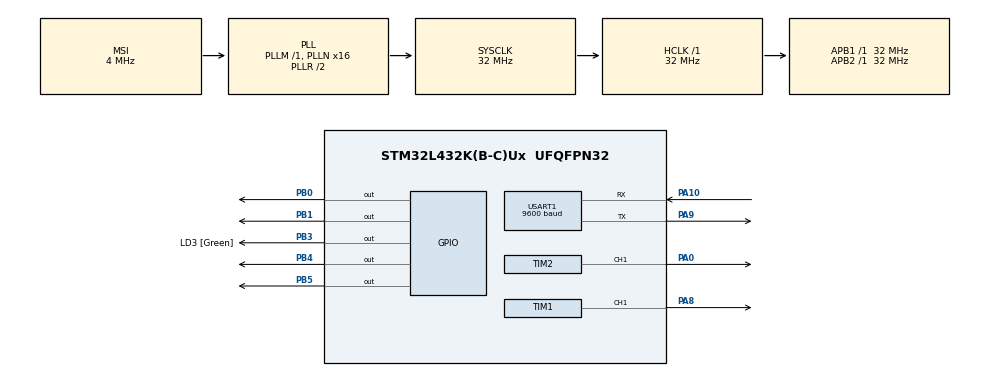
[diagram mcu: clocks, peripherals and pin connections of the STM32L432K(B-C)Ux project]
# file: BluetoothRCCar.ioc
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Mcu.Family=STM32L4
Mcu.Name=STM32L432K(B-C)Ux
Mcu.Package=UFQFPN32
NVIC.PriorityGroup=NVIC_PRIORITYGROUP_4
PA0.Signal=S_TIM2_CH1
PA10.Mode=Asynchronous
PA10.Signal=USART1_RX
PA13\ (JTMS-SWDIO).GPIO_Label=SWDIO
PA13\ (JTMS-SWDIO).Mode=Serial_Wire
PA13\ (JTMS-SWDIO).Signal=SYS_JTMS-SWDIO
PA14\ (JTCK-SWCLK).GPIO_Label=SWCLK
PA14\ (JTCK-SWCLK).Mode=Serial_Wire
PA14\ (JTCK-SWCLK).Signal=SYS_JTCK-SWCLK
PA8.Signal=S_TIM1_CH1
PA9.Mode=Asynchronous
PA9.Signal=USART1_TX
PB0.Signal=GPIO_Output
PB1.Signal=GPIO_Output
PB3\ (JTDO-TRACESWO).GPIO_Label=LD3 [Green]
PB3\ (JTDO-TRACESWO).Signal=GPIO_Output
PB4\ (NJTRST).Signal=GPIO_Output
PB5.Signal=GPIO_Output
PC14-OSC32_IN\ (PC14).Mode=LSE-External-Oscillator
PC14-OSC32_IN\ (PC14).Signal=RCC_OSC32_IN
PC15-OSC32_OUT\ (PC15).Mode=LSE-External-Oscillator
PC15-OSC32_OUT\ (PC15).Signal=RCC_OSC32_OUT
ProjectManager.HeapSize=0x200
ProjectManager.StackSize=0x400
ProjectManager.TargetToolchain=STM32CubeIDE
RCC.AHBFreq_Value=32000000
RCC.APB1Freq_Value=32000000
RCC.APB1TimFreq_Value=32000000
RCC.APB2Freq_Value=32000000
RCC.APB2TimFreq_Value=32000000
RCC.CortexFreq_Value=32000000
RCC.HCLKFreq_Value=32000000
RCC.HSE_VALUE=8000000
RCC.HSI16_VALUE=16000000
RCC.HSI48_VALUE=48000000
RCC.HSI_VALUE=16000000
RCC.MSI_VALUE=4000000
RCC.PLLMUL=RCC_PLLMUL_4
RCC.PLLN=16
RCC.SYSCLKFreq_VALUE=32000000
RCC.SYSCLKSource=RCC_SYSCLKSOURCE_PLLCLK
RCC.VCOOutputFreq_Value=64000000
SH.S_TIM1_CH1.0=TIM1_CH1,PWM Generation1 CH1
SH.S_TIM2_CH1.0=TIM2_CH1,PWM Generation1 CH1
TIM1.AutoReloadPreload=TIM_AUTORELOAD_PRELOAD_ENABLE
TIM1.Channel-PWM\ Generation1\ CH1=TIM_CHANNEL_1
TIM1.Period=999
TIM1.Prescaler=64
TIM2.AutoReloadPreload=TIM_AUTORELOAD_PRELOAD_ENABLE
TIM2.Channel-PWM\ Generation1\ CH1=TIM_CHANNEL_1
TIM2.Period=999
TIM2.Prescaler=64
USART1.BaudRate=9600
USART1.VirtualMode-Asynchronous=VM_ASYNC
VP_TIM1_VS_ClockSourceINT.Mode=Internal
VP_TIM2_VS_ClockSourceINT.Mode=Internal
board=NUCLEO-L432KC

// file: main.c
/* USER CODE BEGIN Header */
/**
  ******************************************************************************
  * @file           : main.c
  * @brief          : Main program body
  ******************************************************************************
  * @attention
  *
  * Copyright (c) 2025 STMicroelectronics.
  * All rights reserved.
  *
  * This software is licensed under terms that can be found in the LICENSE file
  * in the root directory of this software component.
  * If no LICENSE file comes with this software, it is provided AS-IS.
  *
  ******************************************************************************
  */
/* USER CODE END Header */
#include "main.h"
#include <string.h>
#include <stdbool.h>

TIM_HandleTypeDef htim1;
TIM_HandleTypeDef htim2;

UART_HandleTypeDef huart1;

void SystemClock_Config(void);
static void MX_GPIO_Init(void);
static void MX_TIM1_Init(void);
static void MX_TIM2_Init(void);
static void MX_USART1_UART_Init(void);

/* USER CODE BEGIN 0 */
// --- SPEED CONTROL DEFINITIONS ---
#define FULL_SPEED 700 // The speed for the outside motor (e.g., 70%)
#define TURN_SPEED 200 // The speed for the inside motor (e.g., 20%)

// This struct tracks which button is currently being held down
typedef struct {
    bool forward;
    bool backward;
    bool left;
    bool right;
} DirectionState;

DirectionState current_direction = {0};

// Rolling buffer variables for reliable UART packet reading
#define PACKET_SIZE 4
char rx_buffer[PACKET_SIZE + 1] = {0};
int rx_index = 0;
uint8_t rx_byte;

/* --- PIN MAPPING (For Reference) ---
   Motor A (Left):  AIN1=PB0 (D3), AIN2=PB1 (D6)
   Motor B (Right): BIN1=PB4 (D5), BIN2=PB5 (D4)
*/

/**
 * @brief Sets the motor control pins for Motor A (Left)
 * @param direction 1=Forward, -1=Reverse, 0=Stop
 */
void Set_Motor_A(int direction) {
    if (direction == 1) { // Forward
        HAL_GPIO_WritePin(GPIOB, GPIO_PIN_0, GPIO_PIN_SET);
        HAL_GPIO_WritePin(GPIOB, GPIO_PIN_1, GPIO_PIN_RESET);
    } else if (direction == -1) { // Reverse
        HAL_GPIO_WritePin(GPIOB, GPIO_PIN_0, GPIO_PIN_RESET);
        HAL_GPIO_WritePin(GPIOB, GPIO_PIN_1, GPIO_PIN_SET);
    } else { // Stop
        HAL_GPIO_WritePin(GPIOB, GPIO_PIN_0, GPIO_PIN_RESET);
        HAL_GPIO_WritePin(GPIOB, GPIO_PIN_1, GPIO_PIN_RESET);
    }
}

/**
 * @brief Sets the motor control pins for Motor B (Right)
 * Note: Direction is SWAPPED to correct physical wiring.
 * @param direction 1=Forward, -1=Reverse, 0=Stop
 */
void Set_Motor_B(int direction) {
    if (direction == 1) { // Forward
        HAL_GPIO_WritePin(GPIOB, GPIO_PIN_4, GPIO_PIN_RESET);
        HAL_GPIO_WritePin(GPIOB, GPIO_PIN_5, GPIO_PIN_SET);
    } else if (direction == -1) { // Reverse
        HAL_GPIO_WritePin(GPIOB, GPIO_PIN_4, GPIO_PIN_SET);
        HAL_GPIO_WritePin(GPIOB, GPIO_PIN_5, GPIO_PIN_RESET);
    } else { // Stop
        HAL_GPIO_WritePin(GPIOB, GPIO_PIN_4, GPIO_PIN_RESET);
        HAL_GPIO_WritePin(GPIOB, GPIO_PIN_5, GPIO_PIN_RESET);
    }
}

/**
 * @brief Reads the global DirectionState and updates motor pins accordingly.
 * This function defines the movement logic for all combinations.
 */
void Update_Motors(void)
{
    uint32_t speed_A = 0;
    uint32_t speed_B = 0;
    int dir_A = 0;
    int dir_B = 0;

    // --- 1. DETERMINE DIRECTION & SPEED ---

    if (current_direction.forward)
    {
        // Default Forward
        dir_A = 1; speed_A = FULL_SPEED;
        dir_B = 1; speed_B = FULL_SPEED;

        if (current_direction.left) {
            // Forward + Left: Right motor maintains FULL_SPEED, Left motor goes to TURN_SPEED
            speed_A = TURN_SPEED;
            speed_B = FULL_SPEED;
        } else if (current_direction.right) {
            // Forward + Right: Left motor maintains FULL_SPEED, Right motor goes to TURN_SPEED
            speed_A = FULL_SPEED;
            speed_B = TURN_SPEED;
        }
    }
    else if (current_direction.backward)
    {
        // Default Backward
        dir_A = -1; speed_A = FULL_SPEED;
        dir_B = -1; speed_B = FULL_SPEED;

        if (current_direction.left) {
            // Backward + Left: Right motor maintains FULL_SPEED, Left motor goes to TURN_SPEED
            speed_A = TURN_SPEED;
            speed_B = FULL_SPEED;
        } else if (current_direction.right) {
            // Backward + Right: Left motor maintains FULL_SPEED, Right motor goes to TURN_SPEED
            speed_A = FULL_SPEED;
            speed_B = TURN_SPEED;
        }
    }

    // --- 2. STATIONARY PIVOTS (Only Left or Right pressed) ---
    else if (current_direction.left)
    {
        // Stationary Pivot Left: Left Reverse, Right Forward (Tight Turn)
        dir_A = -1; speed_A = FULL_SPEED;
        dir_B = 1;  speed_B = FULL_SPEED;
    }
    else if (current_direction.right)
    {
        // Stationary Pivot Right: Left Forward, Right Reverse (Tight Turn)
        dir_A = 1;  speed_A = FULL_SPEED;
        dir_B = -1; speed_B = FULL_SPEED;
    }

    // --- 3. APPLY OUTPUTS ---

    // Set motor directions (AIN1/AIN2 and BIN1/BIN2 pins)
    Set_Motor_A(dir_A);
    Set_Motor_B(dir_B);

    // Set PWM speeds
    __HAL_TIM_SET_COMPARE(&htim1, TIM_CHANNEL_1, speed_A);
    __HAL_TIM_SET_COMPARE(&htim2, TIM_CHANNEL_1, speed_B);
}

// Function to process a complete, validated 4-byte packet
void Process_Packet(char *packet)
{
    char button_id = packet[2];
    char state = packet[3];
    bool is_press = (state == '1');

    // Map the button ID to the global state flag
    // Up='5', Down='6', Left='7', Right='8'

    if (button_id == '5')       current_direction.forward  = is_press;
    else if (button_id == '6')  current_direction.backward = is_press;
    else if (button_id == '7')  current_direction.left     = is_press;
    else if (button_id == '8')  current_direction.right    = is_press;

    // Immediately call the motor update function
    // The motors will be set based on the new combination of flags
    Update_Motors();
}

/* USER CODE END 0 */

int main(void)
{

  /* MCU Configuration--------------------------------------------------------*/

  /* Reset of all peripherals, Initializes the Flash interface and the Systick. */
  HAL_Init();

  /* Configure the system clock */
  SystemClock_Config();

  /* Initialize all configured peripherals */
  MX_GPIO_Init();
  MX_TIM1_Init();
  MX_TIM2_Init();
  MX_USART1_UART_Init();
  /* USER CODE BEGIN 2 */

  // 1. Start PWM signals for speed control
   HAL_TIM_PWM_Start(&htim1, TIM_CHANNEL_1); // Motor A Speed
   HAL_TIM_PWM_Start(&htim2, TIM_CHANNEL_1); // Motor B Speed
    // 2. Set Speed to 50% (500 out of 1000)
   __HAL_TIM_SET_COMPARE(&htim1, TIM_CHANNEL_1, 500);
   __HAL_TIM_SET_COMPARE(&htim2, TIM_CHANNEL_1, 500);

   char rx_buffer[5] = {0}; // Buffer for 4 chars plus null terminator

  /* USER CODE BEGIN WHILE */
   while (1)
     {
       // Check if a single byte is available (Non-blocking: Timeout 1)
       if (HAL_UART_Receive(&huart1, &rx_byte, 1, 1) == HAL_OK)
       {
           // 1. If we see the start character '!', reset the buffer index
           if (rx_byte == '!')
           {
               rx_index = 0;
               rx_buffer[rx_index++] = rx_byte;
           }
           // 2. If the buffer is started and not full, add the new byte
           else if (rx_index > 0 && rx_index < PACKET_SIZE)
           {
               rx_buffer[rx_index++] = rx_byte;
           }

           // 3. Check if the buffer is now full (4 bytes)
           if (rx_index == PACKET_SIZE)
           {
               rx_buffer[PACKET_SIZE] = '\0';

               // Check if it looks like a valid button packet (!BXX)
               if (rx_buffer[0] == '!' && rx_buffer[1] == 'B')
               {
                   Process_Packet(rx_buffer);
               }

               // Reset the buffer index to wait for the next '!' start byte
               rx_index = 0;
           }
       }

     }
     /* USER CODE END WHILE */
   /* USER CODE END 3 */

void SystemClock_Config(void)
{
  RCC_OscInitTypeDef RCC_OscInitStruct = {0};
  RCC_ClkInitTypeDef RCC_ClkInitStruct = {0};

  /** Configure the main internal regulator output voltage
  */
  if (HAL_PWREx_ControlVoltageScaling(PWR_REGULATOR_VOLTAGE_SCALE1) != HAL_OK)
  {
    Error_Handler();
  }

  /** Configure LSE Drive Capability
  */
  HAL_PWR_EnableBkUpAccess();
  __HAL_RCC_LSEDRIVE_CONFIG(RCC_LSEDRIVE_LOW);

  /** Initializes the RCC Oscillators according to the specified parameters
  * in the RCC_OscInitTypeDef structure.
  */
  RCC_OscInitStruct.OscillatorType = RCC_OSCILLATORTYPE_LSE|RCC_OSCILLATORTYPE_MSI;
  RCC_OscInitStruct.LSEState = RCC_LSE_ON;
  RCC_OscInitStruct.MSIState = RCC_MSI_ON;
  RCC_OscInitStruct.MSICalibrationValue = 0;
  RCC_OscInitStruct.MSIClockRange = RCC_MSIRANGE_6;
  RCC_OscInitStruct.PLL.PLLState = RCC_PLL_ON;
  RCC_OscInitStruct.PLL.PLLSource = RCC_PLLSOURCE_MSI;
  RCC_OscInitStruct.PLL.PLLM = 1;
  RCC_OscInitStruct.PLL.PLLN = 16;
  RCC_OscInitStruct.PLL.PLLP = RCC_PLLP_DIV7;
  RCC_OscInitStruct.PLL.PLLQ = RCC_PLLQ_DIV2;
  RCC_OscInitStruct.PLL.PLLR = RCC_PLLR_DIV2;
  if (HAL_RCC_OscConfig(&RCC_OscInitStruct) != HAL_OK)
  {
    Error_Handler();
  }

  /** Initializes the CPU, AHB and APB buses clocks
  */
  RCC_ClkInitStruct.ClockType = RCC_CLOCKTYPE_HCLK|RCC_CLOCKTYPE_SYSCLK
                              |RCC_CLOCKTYPE_PCLK1|RCC_CLOCKTYPE_PCLK2;
  RCC_ClkInitStruct.SYSCLKSource = RCC_SYSCLKSOURCE_PLLCLK;
  RCC_ClkInitStruct.AHBCLKDivider = RCC_SYSCLK_DIV1;
  RCC_ClkInitStruct.APB1CLKDivider = RCC_HCLK_DIV1;
  RCC_ClkInitStruct.APB2CLKDivider = RCC_HCLK_DIV1;

  if (HAL_RCC_ClockConfig(&RCC_ClkInitStruct, FLASH_LATENCY_1) != HAL_OK)
  {
    Error_Handler();
  }

  /** Enable MSI Auto calibration
  */
  HAL_RCCEx_EnableMSIPLLMode();
}

static void MX_TIM1_Init(void)
{

  TIM_ClockConfigTypeDef sClockSourceConfig = {0};
  TIM_MasterConfigTypeDef sMasterConfig = {0};
  TIM_OC_InitTypeDef sConfigOC = {0};
  TIM_BreakDeadTimeConfigTypeDef sBreakDeadTimeConfig = {0};

  htim1.Instance = TIM1;
  htim1.Init.Prescaler = 64;
  htim1.Init.CounterMode = TIM_COUNTERMODE_UP;
  htim1.Init.Period = 999;
  htim1.Init.ClockDivision = TIM_CLOCKDIVISION_DIV1;
  htim1.Init.RepetitionCounter = 0;
  htim1.Init.AutoReloadPreload = TIM_AUTORELOAD_PRELOAD_ENABLE;
  if (HAL_TIM_Base_Init(&htim1) != HAL_OK)
  {
    Error_Handler();
  }
  sClockSourceConfig.ClockSource = TIM_CLOCKSOURCE_INTERNAL;
  if (HAL_TIM_ConfigClockSource(&htim1, &sClockSourceConfig) != HAL_OK)
  {
    Error_Handler();
  }
  if (HAL_TIM_PWM_Init(&htim1) != HAL_OK)
  {
    Error_Handler();
  }
  sMasterConfig.MasterOutputTrigger = TIM_TRGO_RESET;
  sMasterConfig.MasterOutputTrigger2 = TIM_TRGO2_RESET;
  sMasterConfig.MasterSlaveMode = TIM_MASTERSLAVEMODE_DISABLE;
  if (HAL_TIMEx_MasterConfigSynchronization(&htim1, &sMasterConfig) != HAL_OK)
  {
    Error_Handler();
  }
  sConfigOC.OCMode = TIM_OCMODE_PWM1;
  sConfigOC.Pulse = 0;
  sConfigOC.OCPolarity = TIM_OCPOLARITY_HIGH;
  sConfigOC.OCNPolarity = TIM_OCNPOLARITY_HIGH;
  sConfigOC.OCFastMode = TIM_OCFAST_DISABLE;
  sConfigOC.OCIdleState = TIM_OCIDLESTATE_RESET;
  sConfigOC.OCNIdleState = TIM_OCNIDLESTATE_RESET;
  if (HAL_TIM_PWM_ConfigChannel(&htim1, &sConfigOC, TIM_CHANNEL_1) != HAL_OK)
  {
    Error_Handler();
  }
  sBreakDeadTimeConfig.OffStateRunMode = TIM_OSSR_DISABLE;
  sBreakDeadTimeConfig.OffStateIDLEMode = TIM_OSSI_DISABLE;
  sBreakDeadTimeConfig.LockLevel = TIM_LOCKLEVEL_OFF;
  sBreakDeadTimeConfig.DeadTime = 0;
  sBreakDeadTimeConfig.BreakState = TIM_BREAK_DISABLE;
  sBreakDeadTimeConfig.BreakPolarity = TIM_BREAKPOLARITY_HIGH;
  sBreakDeadTimeConfig.BreakFilter = 0;
  sBreakDeadTimeConfig.Break2State = TIM_BREAK2_DISABLE;
  sBreakDeadTimeConfig.Break2Polarity = TIM_BREAK2POLARITY_HIGH;
  sBreakDeadTimeConfig.Break2Filter = 0;
  sBreakDeadTimeConfig.AutomaticOutput = TIM_AUTOMATICOUTPUT_DISABLE;
  if (HAL_TIMEx_ConfigBreakDeadTime(&htim1, &sBreakDeadTimeConfig) != HAL_OK)
  {
    Error_Handler();
  }
  HAL_TIM_MspPostInit(&htim1);

}

static void MX_TIM2_Init(void)
{

  TIM_ClockConfigTypeDef sClockSourceConfig = {0};
  TIM_MasterConfigTypeDef sMasterConfig = {0};
  TIM_OC_InitTypeDef sConfigOC = {0};

  htim2.Instance = TIM2;
  htim2.Init.Prescaler = 64;
  htim2.Init.CounterMode = TIM_COUNTERMODE_UP;
  htim2.Init.Period = 999;
  htim2.Init.ClockDivision = TIM_CLOCKDIVISION_DIV1;
  htim2.Init.AutoReloadPreload = TIM_AUTORELOAD_PRELOAD_ENABLE;
  if (HAL_TIM_Base_Init(&htim2) != HAL_OK)
  {
    Error_Handler();
  }
  sClockSourceConfig.ClockSource = TIM_CLOCKSOURCE_INTERNAL;
  if (HAL_TIM_ConfigClockSource(&htim2, &sClockSourceConfig) != HAL_OK)
  {
    Error_Handler();
  }
  if (HAL_TIM_PWM_Init(&htim2) != HAL_OK)
  {
    Error_Handler();
  }
  sMasterConfig.MasterOutputTrigger = TIM_TRGO_RESET;
  sMasterConfig.MasterSlaveMode = TIM_MASTERSLAVEMODE_DISABLE;
  if (HAL_TIMEx_MasterConfigSynchronization(&htim2, &sMasterConfig) != HAL_OK)
  {
    Error_Handler();
  }
  sConfigOC.OCMode = TIM_OCMODE_PWM1;
  sConfigOC.Pulse = 0;
  sConfigOC.OCPolarity = TIM_OCPOLARITY_HIGH;
  sConfigOC.OCFastMode = TIM_OCFAST_DISABLE;
  if (HAL_TIM_PWM_ConfigChannel(&htim2, &sConfigOC, TIM_CHANNEL_1) != HAL_OK)
  {
    Error_Handler();
  }
  HAL_TIM_MspPostInit(&htim2);

}

static void MX_USART1_UART_Init(void)
{

  huart1.Instance = USART1;
  huart1.Init.BaudRate = 9600;
  huart1.Init.WordLength = UART_WORDLENGTH_8B;
  huart1.Init.StopBits = UART_STOPBITS_1;
  huart1.Init.Parity = UART_PARITY_NONE;
  huart1.Init.Mode = UART_MODE_TX_RX;
  huart1.Init.HwFlowCtl = UART_HWCONTROL_NONE;
  huart1.Init.OverSampling = UART_OVERSAMPLING_16;
  huart1.Init.OneBitSampling = UART_ONE_BIT_SAMPLE_DISABLE;
  huart1.AdvancedInit.AdvFeatureInit = UART_ADVFEATURE_NO_INIT;
  if (HAL_UART_Init(&huart1) != HAL_OK)
  {
    Error_Handler();
  }

}

static void MX_GPIO_Init(void)
{
  GPIO_InitTypeDef GPIO_InitStruct = {0};

  /* GPIO Ports Clock Enable */
  __HAL_RCC_GPIOC_CLK_ENABLE();
  __HAL_RCC_GPIOA_CLK_ENABLE();
  __HAL_RCC_GPIOB_CLK_ENABLE();

  /*Configure GPIO pin Output Level */
  HAL_GPIO_WritePin(GPIOB, GPIO_PIN_0|GPIO_PIN_1|LD3_Pin|GPIO_PIN_4
                          |GPIO_PIN_5, GPIO_PIN_RESET);

  /*Configure GPIO pins : PB0 PB1 LD3_Pin PB4
                           PB5 */
  GPIO_InitStruct.Pin = GPIO_PIN_0|GPIO_PIN_1|LD3_Pin|GPIO_PIN_4
                          |GPIO_PIN_5;
  GPIO_InitStruct.Mode = GPIO_MODE_OUTPUT_PP;
  GPIO_InitStruct.Pull = GPIO_NOPULL;
  GPIO_InitStruct.Speed = GPIO_SPEED_FREQ_LOW;
  HAL_GPIO_Init(GPIOB, &GPIO_InitStruct);

}

void Error_Handler(void)
{
  __disable_irq();
  while (1)
  {
  }
}
